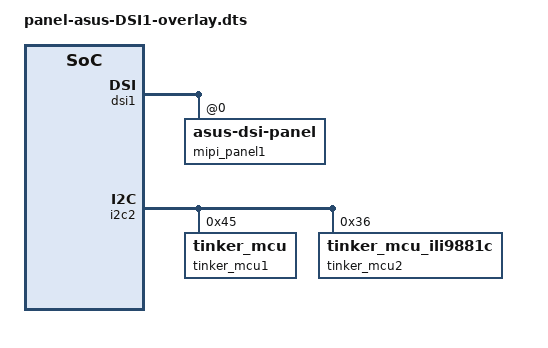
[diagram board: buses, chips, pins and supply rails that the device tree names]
/dts-v1/;
/plugin/;
/ {
	compatible = "rockchip,rk3399pro-evb-v11-linux";

	fragment@0 {
		target = <&dsi1>;
		__overlay__ {
			status = "okay";
			mipi_panel1: mipi-panel {
				compatible ="asus-dsi-panel";
				reg = <0>;
				status = "okay";
			};
		};
	};

	fragment@1 {
		target = <&dsi1_in_vopl>;
		__overlay__ {
			status = "disabled";
		};
	};

	fragment@2 {
		target = <&cdn_dp>;
		__overlay__ {
			status = "disabled";
		};
	};

	fragment@3 {
		target = <&hdmi>;
		__overlay__ {
			status = "disabled";
		};
	};

	fragment@4 {
		target = <&i2c2>;
		__overlay__ {
			status = "okay";

			tinker_mcu1: tinker_mcu@45 {
				compatible = "tinker_mcu";
				reg = <0x45>;
			};

			tinker_mcu2: tinker_mcu2@36 {
				status = "okay";
				compatible = "tinker_mcu_ili9881c";
				reg = <0x36>;
			};
			imx219: imx219@10 {
				status = "disabled";
			};

		};
	};

	fragment@5 {
		target = <&mipi_dphy_tx1rx1>;
		__overlay__ {
			status = "disabled";
		};
	};
};
